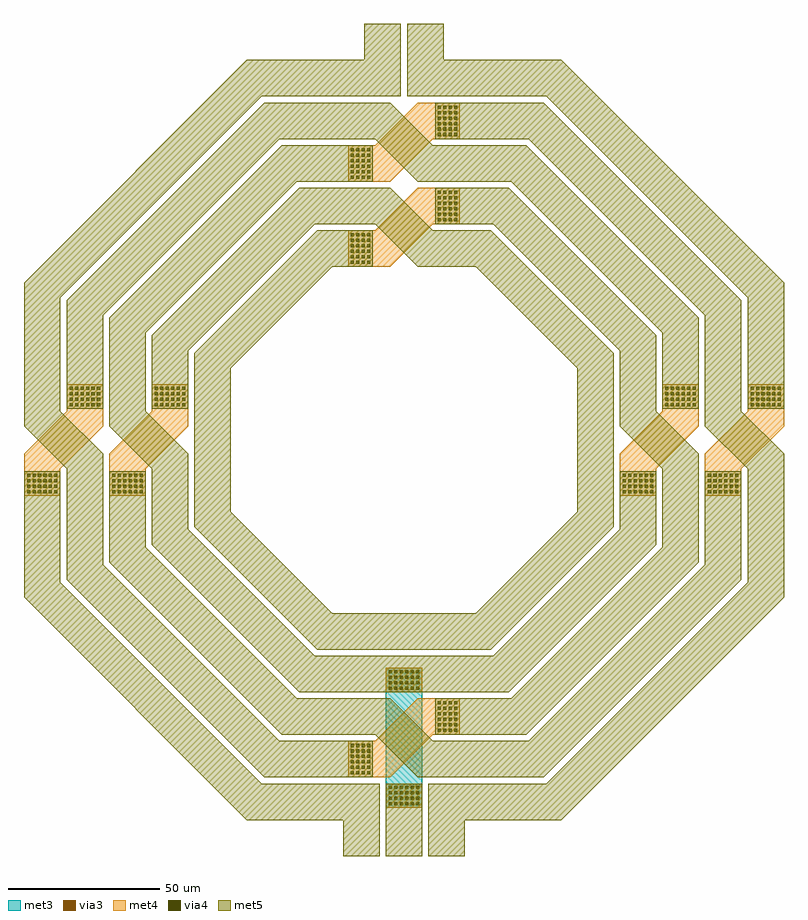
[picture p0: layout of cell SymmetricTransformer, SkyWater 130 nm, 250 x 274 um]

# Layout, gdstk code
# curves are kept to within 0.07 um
import gdstk
lib = gdstk.Library(unit=1e-6, precision=1e-09)
def R(c, l, rs):  # rectangles x0, y0, x1, y1
    for r in rs: c.add(gdstk.rectangle(r[:2], r[2:], *l))
def A(c, l, x, y, w, h, nx, ny, dx, dy):  # array of equal rectangles
    R(c, l, [(x+i*dx, y+j*dy, x+i*dx+w, y+j*dy+h) for i in range(nx) for j in range(ny)])
def P(c, l, *ps):  # polygons
    for p in ps: c.add(gdstk.Polygon(p, *l))
met3 = (70, 20)
via3 = (70, 44)
met4 = (71, 20)
via4 = (71, 44)
met5 = (72, 20)

symmetrictransformer = lib.new_cell('SymmetricTransformer')
P(symmetrictransformer, met3, [(-6.001,-121.001),(-6,-121.001),(-6,-121.001),(6,-121.001),(6,-121.001),(6.001,-121.001),(6.001,-112.999),(6,-112.999),(6,-83.001),(6.001,-83.001),(6.001,-74.999),(-6.001,-74.999),(-6.001,-83.001),(-6,-83.001),(-6,-112.999),(-6.001,-112.999)])
A(symmetrictransformer, via3, -5.001, -120.201, 1.002, 1.002, 6, 4, 1.8, 1.8)
A(symmetrictransformer, via3, -5.001, -82.201, 1.002, 1.002, 6, 4, 1.8, 1.8)
R(symmetrictransformer, met4, [(-6.001,-121.001,6.001,-112.999), (-6.001,-83.001,6.001,-74.999)])
P(symmetrictransformer, met4, [(-125.001,-4.515),(-125.001,-10.314),(-125.001,-18.315),(-113,-18.315),(-113,-10.315),(-113,-9.486),(-98.999,4.515),(-98.999,10.314),(-98.999,18.315),(-111,18.315),(-111,10.315),(-111,9.486)],
  [(-97.001,-4.515),(-97.001,-10.314),(-97.001,-18.315),(-85,-18.315),(-85,-10.315),(-85,-9.486),(-70.999,4.515),(-70.999,10.314),(-70.999,18.315),(-83,18.315),(-83,10.315),(-83,9.486)],
  [(-18.315,-99),(-18.315,-111.001),(-10.314,-111.001),(-4.515,-111.001),(9.486,-97),(10.315,-97),(18.315,-97),(18.315,-84.999),(10.314,-84.999),(4.515,-84.999),(-9.486,-99),(-10.315,-99)],
  [(-18.315,69),(-18.315,56.999),(-10.314,56.999),(-4.515,56.999),(9.486,71),(10.315,71),(18.315,71),(18.315,83.001),(10.314,83.001),(4.515,83.001),(-9.486,69),(-10.315,69)],
  [(-18.315,97),(-18.315,84.999),(-10.314,84.999),(-4.515,84.999),(9.486,99),(10.315,99),(18.315,99),(18.315,111.001),(10.314,111.001),(4.515,111.001),(-9.486,97),(-10.315,97)],
  [(70.999,-4.515),(70.999,-10.314),(70.999,-18.315),(83,-18.315),(83,-10.315),(83,-9.486),(97.001,4.515),(97.001,10.314),(97.001,18.315),(85,18.315),(85,10.315),(85,9.486)],
  [(98.999,-4.515),(98.999,-10.314),(98.999,-18.315),(111,-18.315),(111,-10.315),(111,-9.486),(125.001,4.515),(125.001,10.314),(125.001,18.315),(113,18.315),(113,10.315),(113,9.486)])
A(symmetrictransformer, via4, -5.001, -120.201, 1.002, 1.002, 6, 4, 1.8, 1.8)
A(symmetrictransformer, via4, -17.514, -110.001, 1.001, 1.002, 4, 6, 1.8, 1.8)
A(symmetrictransformer, via4, 11.113, -96.001, 1.001, 1.002, 4, 6, 1.8, 1.8)
A(symmetrictransformer, via4, -5.001, -82.201, 1.002, 1.002, 6, 4, 1.8, 1.8)
A(symmetrictransformer, via4, -124.001, -17.514, 1.002, 1.001, 6, 4, 1.8, 1.8)
A(symmetrictransformer, via4, -96.001, -17.514, 1.002, 1.001, 6, 4, 1.8, 1.8)
A(symmetrictransformer, via4, 71.999, -17.514, 1.002, 1.001, 6, 4, 1.8, 1.8)
A(symmetrictransformer, via4, 99.999, -17.514, 1.002, 1.001, 6, 4, 1.8, 1.8)
A(symmetrictransformer, via4, -110.001, 11.113, 1.002, 1.001, 6, 4, 1.8, 1.8)
A(symmetrictransformer, via4, -82.001, 11.113, 1.002, 1.001, 6, 4, 1.8, 1.8)
A(symmetrictransformer, via4, 85.999, 11.113, 1.002, 1.001, 6, 4, 1.8, 1.8)
A(symmetrictransformer, via4, 113.999, 11.113, 1.002, 1.001, 6, 4, 1.8, 1.8)
A(symmetrictransformer, via4, -17.514, 57.999, 1.001, 1.002, 4, 6, 1.8, 1.8)
A(symmetrictransformer, via4, 11.113, 71.999, 1.001, 1.002, 4, 6, 1.8, 1.8)
A(symmetrictransformer, via4, -17.514, 85.999, 1.001, 1.002, 4, 6, 1.8, 1.8)
A(symmetrictransformer, via4, 11.113, 99.999, 1.001, 1.002, 4, 6, 1.8, 1.8)
R(symmetrictransformer, met5, [(-6,-137.001,6,-112.999)])
P(symmetrictransformer, met5, [(-125.001,4.515),(-111,-9.486),(-111.001,-45.977),(-45.977,-111.001),(-10.313,-111.001),(-10.313,-99.001),(-41.007,-99.001),(-99.001,-41.007),(-98.999,-4.515),(-113,9.486),(-113.001,46.806),(-46.806,113.001),(-0.999,112.999),(-0.999,137.001),(-13,137.001),(-13.001,125.001),(-51.776,125.001),(-125.001,51.776)],
  [(-125.001,-51.776),(-51.776,-125.001),(-20.001,-125.001),(-20.001,-137.001),(-8,-137.001),(-8,-112.999),(-10.314,-112.999),(-10.314,-113.001),(-46.806,-113.001),(-113.001,-46.806),(-113.001,-10.313),(-125.001,-10.313)],
  [(-111.001,45.977),(-111.001,10.313),(-99.001,10.313),(-99.001,41.007),(-41.007,99.001),(-9.486,99),(4.515,84.999),(35.208,85.001),(85.001,35.208),(85.001,10.313),(97.001,10.313),(97.001,40.178),(40.178,97.001),(9.486,97),(-4.515,111.001),(-45.977,111.001)],
  [(-97.001,4.515),(-83,-9.486),(-83.001,-34.379),(-34.379,-83.001),(34.379,-83.001),(83.001,-34.379),(83.001,-10.313),(71,-10.313),(71.001,-29.408),(29.408,-71.001),(-29.408,-71.001),(-71.001,-29.408),(-70.999,-4.515),(-85,9.486),(-85.001,35.208),(-35.208,85.001),(-10.313,85.001),(-10.313,97.001),(-40.178,97.001),(-97.001,40.178)],
  [(-97.001,-40.178),(-40.178,-97.001),(-9.486,-97),(4.515,-111.001),(45.977,-111.001),(111.001,-45.977),(111.001,-10.313),(99.001,-10.313),(99.001,-41.007),(41.007,-99.001),(9.486,-99),(-4.515,-84.999),(-35.208,-85.001),(-85.001,-35.208),(-85.001,-10.313),(-97.001,-10.313)],
  [(-83.001,34.379),(-83.001,10.313),(-71,10.313),(-71.001,29.408),(-29.408,71.001),(-9.486,71),(4.515,56.999),(23.609,57.001),(57.001,23.609),(57.001,-23.609),(23.609,-57.001),(-23.609,-57.001),(-57.001,-23.609),(-57.001,23.609),(-23.609,57.001),(-10.313,57),(-10.313,69.001),(-28.58,69.001),(-69.001,28.58),(-69.001,-28.58),(-28.58,-69.001),(28.58,-69.001),(69.001,-28.58),(69.001,28.58),(28.58,69.001),(9.486,69),(-4.515,83.001),(-34.379,83.001)],
  [(0.999,112.999),(10.314,112.999),(10.314,113.001),(46.806,113.001),(113.001,46.806),(113.001,10.313),(125.001,10.313),(125.001,51.776),(51.776,125.001),(13.001,125.001),(13,137.001),(0.999,137.001)],
  [(8,-137.001),(20.001,-137.001),(20.001,-125.001),(51.776,-125.001),(125.001,-51.776),(125.001,-4.515),(111,9.486),(111.001,45.977),(45.977,111.001),(10.313,111.001),(10.313,99.001),(41.007,99.001),(99.001,41.007),(98.999,4.515),(113,-9.486),(113.001,-46.806),(46.806,-113.001),(8,-112.999)],
  [(10.313,71),(29.408,71.001),(71.001,29.408),(70.999,4.515),(85,-9.486),(85.001,-35.208),(35.208,-85.001),(10.313,-85.001),(10.313,-97.001),(40.178,-97.001),(97.001,-40.178),(97.001,-4.515),(83,9.486),(83.001,34.379),(34.379,83.001),(10.313,83.001)])

lib.write_gds('SymmetricTransformer.gds')
